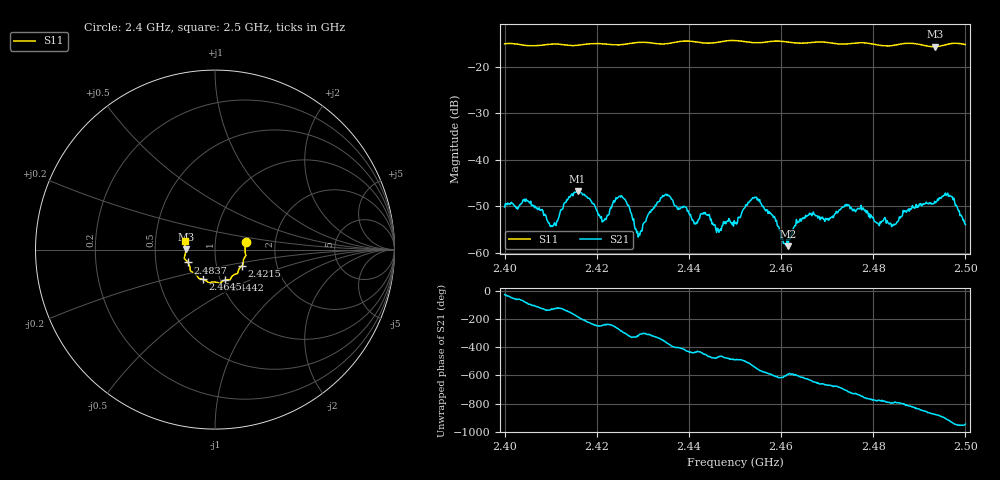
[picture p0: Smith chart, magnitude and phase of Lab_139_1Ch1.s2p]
# Hz S RI R 50
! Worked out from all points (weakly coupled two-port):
!   601 points, 2.4 GHz to 2.5 GHz, reference 50 ohm
!   highest |S21| = -46.78 dB at 2.4158 GHz (marker M1); lowest = -58.5 dB at 2.4615 GHz (marker M2)
!   lowest |S11| = -15.7 dB at 2.4933 GHz (marker M3), VSWR 1.39, Z = 35.9 + j0.102 ohm
!   |S11| at or under -10 dB: start of sweep to end of sweep
!   S12 and S22 are empty: the file has one direction only
!   S11 on the Smith chart (normalised r, x): 2.4 GHz: 1.41, +0.12; 2.4215 GHz: 1.33, -0.25; 2.4442 GHz: 1.05, -0.37; 2.4645 GHz: 0.83, -0.29; 2.4837 GHz: 0.73, -0.11; 2.5 GHz: 0.71, +0.07
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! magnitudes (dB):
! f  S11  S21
! 2.4 GHz  -15.1  -50.1
! 2.4052 GHz  -15.5  -49.0
! 2.4105 GHz  -15.1  -54.2
! 2.4158 GHz  -15.4  -46.8
! 2.4167 GHz  -15.3  -47.1
! 2.4215 GHz  -15.1  -53.0
! 2.4253 GHz  -15.3  -47.7
! 2.4292 GHz  -14.8  -55.9
! 2.4333 GHz  -15.1  -49.0
! 2.4442 GHz  -15.0  -52.0
! 2.4465 GHz  -14.7  -55.6
! 2.45 GHz  -14.4  -53.6
! 2.4545 GHz  -14.9  -48.1
! 2.4615 GHz  -14.7  -58.5
! 2.4645 GHz  -15.0  -52.7
! 2.4667 GHz  -14.8  -52.0
! 2.4743 GHz  -15.1  -49.8
! 2.4833 GHz  -15.5  -53.7
! 2.4837 GHz  -15.5  -53.6
! 2.4933 GHz  -15.7  -48.9
! 2.4967 GHz  -15.1  -47.7
! 2.5 GHz  -15.3  -53.9
